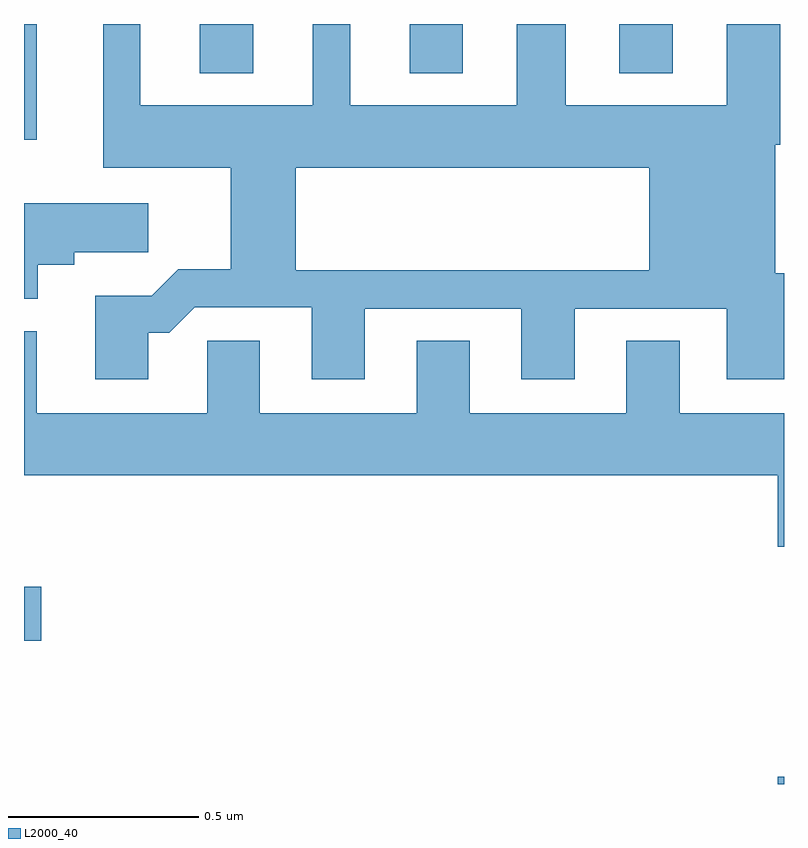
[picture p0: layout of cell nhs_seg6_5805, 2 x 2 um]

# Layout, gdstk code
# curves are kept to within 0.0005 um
import gdstk
lib = gdstk.Library(unit=1e-6, precision=1e-09)
def R(c, l, rs):  # rectangles x0, y0, x1, y1
    for r in rs: c.add(gdstk.rectangle(r[:2], r[2:], *l))
def A(c, l, x, y, w, h, nx, ny, dx, dy):  # array of equal rectangles
    R(c, l, [(x+i*dx, y+j*dy, x+i*dx+w, y+j*dy+h) for i in range(nx) for j in range(ny)])
def P(c, l, *ps):  # polygons
    for p in ps: c.add(gdstk.Polygon(p, *l))
L2000_40 = (2000, 40)

nhs_seg6_5805 = lib.new_cell('nhs_seg6_5805')
A(nhs_seg6_5805, L2000_40, 187.463, 972.371, 0.14, 0.129, 3, 1, 0.552, 0)
R(nhs_seg6_5805, L2000_40, [(188.984,970.5,189,970.519), (187,970.877,187.045,971.019), (187,972.195,187.033,972.5)])
P(nhs_seg6_5805, L2000_40, [(187.187,971.785),(187.187,971.565),(187.327,971.565),(187.327,971.687),(187.382,971.687),(187.449,971.754),(187.757,971.754),(187.757,971.565),(187.897,971.565),(187.897,971.751),(188.309,971.751),(188.309,971.565),(188.449,971.565),(188.449,971.751),(188.849,971.751),(188.849,971.565),(189,971.565),(189,971.844),(188.977,971.844),(188.977,972.182),(188.99,972.182),(188.99,972.5),(188.849,972.5),(188.849,972.286),(188.425,972.286),(188.425,972.5),(188.297,972.5),(188.297,972.286),(187.858,972.286),(187.858,972.5),(187.76,972.5),(187.76,972.286),(187.306,972.286),(187.306,972.5),(187.208,972.5),(187.208,972.122),(187.544,972.122),(187.544,971.855),(187.406,971.855),(187.403,971.852),(187.715,971.852),(187.715,972.122),(188.645,972.122),(188.645,971.852),(187.403,971.852),(187.336,971.785)],
  [(187.036,971.867),(187.132,971.867),(187.132,971.899),(187.327,971.899),(187.327,972.028),(187,972.028),(187,971.777),(187.036,971.777)],
  [(189,971.476),(188.725,971.476),(188.725,971.666),(188.585,971.666),(188.585,971.476),(188.173,971.476),(188.173,971.666),(188.033,971.666),(188.033,971.476),(187.621,971.476),(187.621,971.666),(187.482,971.666),(187.482,971.476),(187.033,971.476),(187.033,971.692),(187,971.692),(187,971.312),(188.984,971.312),(188.984,971.124),(189,971.124)])

lib.write_gds('nhs_seg6_5805.gds')
